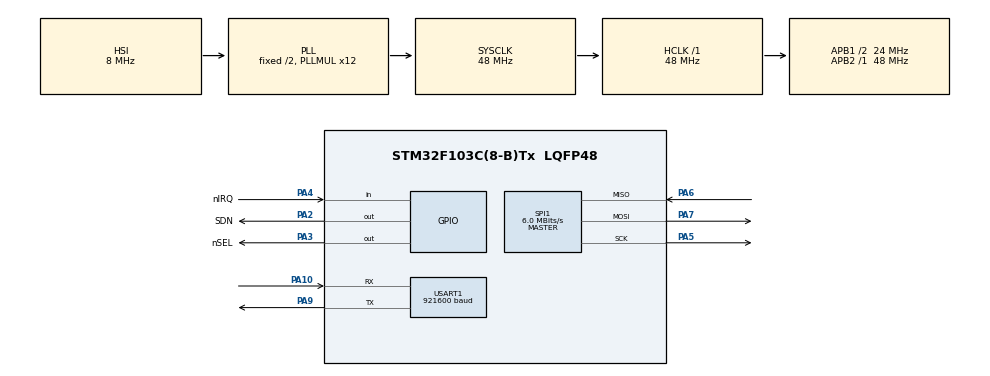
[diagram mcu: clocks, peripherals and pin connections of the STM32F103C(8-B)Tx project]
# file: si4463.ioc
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Mcu.Family=STM32F1
Mcu.Name=STM32F103C(8-B)Tx
Mcu.Package=LQFP48
NVIC.PriorityGroup=NVIC_PRIORITYGROUP_4
PA10.Mode=Asynchronous
PA10.Signal=USART1_RX
PA13.Mode=Serial_Wire
PA13.Signal=SYS_JTMS-SWDIO
PA14.Mode=Serial_Wire
PA14.Signal=SYS_JTCK-SWCLK
PA2.GPIO_Label=SDN
PA2.GPIO_PuPd=GPIO_PULLUP
PA2.PinState=GPIO_PIN_SET
PA2.Signal=GPIO_Output
PA3.GPIO_Label=nSEL
PA3.GPIO_PuPd=GPIO_PULLUP
PA3.PinState=GPIO_PIN_SET
PA3.Signal=GPIO_Output
PA4.GPIO_Label=nIRQ
PA4.GPIO_PuPd=GPIO_PULLUP
PA4.Signal=GPIO_Input
PA5.Mode=Full_Duplex_Master
PA5.Signal=SPI1_SCK
PA6.Mode=Full_Duplex_Master
PA6.Signal=SPI1_MISO
PA7.Mode=Full_Duplex_Master
PA7.Signal=SPI1_MOSI
PA9.Mode=Asynchronous
PA9.Signal=USART1_TX
ProjectManager.HeapSize=0x200
ProjectManager.StackSize=0x400
ProjectManager.TargetToolchain=MDK-ARM V5.32
RCC.AHBFreq_Value=48000000
RCC.APB1CLKDivider=RCC_HCLK_DIV2
RCC.APB1Freq_Value=24000000
RCC.APB1TimFreq_Value=48000000
RCC.APB2Freq_Value=48000000
RCC.APB2TimFreq_Value=48000000
RCC.HCLKFreq_Value=48000000
RCC.PLLMUL=RCC_PLL_MUL12
RCC.SYSCLKFreq_VALUE=48000000
RCC.SYSCLKSource=RCC_SYSCLKSOURCE_PLLCLK
RCC.USBFreq_Value=48000000
SPI1.BaudRatePrescaler=SPI_BAUDRATEPRESCALER_8
SPI1.CalculateBaudRate=6.0 MBits/s
SPI1.Direction=SPI_DIRECTION_2LINES
SPI1.Mode=SPI_MODE_MASTER
SPI1.VirtualType=VM_MASTER
USART1.BaudRate=921600
USART1.VirtualMode=VM_ASYNC
board=custom

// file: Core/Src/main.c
/* USER CODE BEGIN Header */
/**
  ******************************************************************************
  * @file           : main.c
  * @brief          : Main program body
  ******************************************************************************
  * @attention
  *
  * Copyright (c) 2023 STMicroelectronics.
  * All rights reserved.
  *
  * This software is licensed under terms that can be found in the LICENSE file
  * in the root directory of this software component.
  * If no LICENSE file comes with this software, it is provided AS-IS.
  *
  ******************************************************************************
  */
/* USER CODE END Header */
#include "main.h"

/* USER CODE BEGIN Includes */
#include "si446x.h"
/* USER CODE END Includes */

/* USER CODE BEGIN PTD */
unsigned char private_recv_buffer[10] = { 0 }; //长度不要改
uint32_t rx_cnt;
unsigned char si4432RxBuf[SI463_PACKAGE_LEN64];
/* USER CODE END PTD */

SPI_HandleTypeDef hspi1;

UART_HandleTypeDef huart1;

void SystemClock_Config(void);
static void MX_GPIO_Init(void);
static void MX_SPI1_Init(void);
static void MX_USART1_UART_Init(void);

/* USER CODE BEGIN 0 */
unsigned char p[64];
uint32_t wait;
/* USER CODE END 0 */

int main(void)
{
    /* USER CODE BEGIN 1 */
    unsigned char i;
    unsigned char send_buf[100] = {0};
    rx_cnt = 0;
    /* USER CODE END 1 */

    /* MCU Configuration--------------------------------------------------------*/

    /* Reset of all peripherals, Initializes the Flash interface and the Systick. */
    HAL_Init();

    /* Configure the system clock */
    SystemClock_Config();

    /* Initialize all configured peripherals */
    MX_GPIO_Init();
    MX_SPI1_Init();
    MX_USART1_UART_Init();
    /* USER CODE BEGIN 2 */

init:
    Si4463_init();
    wait = 0;
    /* USER CODE END 2 */

    /* Infinite loop */
    while (1)
    {

        /* USER CODE BEGIN 3 */
        if (nIRQ)

        {
            wait++;
            if (wait > 50000)
                goto init;

        }
        else
        {
            SI446X_INT_STATUS(private_recv_buffer);
            if (private_recv_buffer[3] & (1 << 4)) // 收到一个数据包
            {
                wait = 0;
                SI446X_READ_PACKET(si4432RxBuf);
                //SI446X_RX_FIFO_RESET();
                // SI446X_TX_FIFO_RESET();
                //rx_init();
                memset(si4432RxBuf, 0, 10);
                memset(private_recv_buffer, 0, 10);
                rx_cnt++;
                //p1("433 rec: ");
                //	pln(si4432RxBuf,SI463_PACKAGE_LEN64);	//check header
            }
            else
            {
                SI446X_RX_FIFO_RESET();
                SI446X_TX_FIFO_RESET();
                rx_init();
            }

        }

    }
    /* USER CODE END 3 */
}

void SystemClock_Config(void)
{
    RCC_OscInitTypeDef RCC_OscInitStruct = {0};
    RCC_ClkInitTypeDef RCC_ClkInitStruct = {0};

    /** Initializes the RCC Oscillators according to the specified parameters
    * in the RCC_OscInitTypeDef structure.
    */
    RCC_OscInitStruct.OscillatorType = RCC_OSCILLATORTYPE_HSI;
    RCC_OscInitStruct.HSIState = RCC_HSI_ON;
    RCC_OscInitStruct.HSICalibrationValue = RCC_HSICALIBRATION_DEFAULT;
    RCC_OscInitStruct.PLL.PLLState = RCC_PLL_ON;
    RCC_OscInitStruct.PLL.PLLSource = RCC_PLLSOURCE_HSI_DIV2;
    RCC_OscInitStruct.PLL.PLLMUL = RCC_PLL_MUL12;
    if (HAL_RCC_OscConfig(&RCC_OscInitStruct) != HAL_OK)
    {
        Error_Handler();
    }

    /** Initializes the CPU, AHB and APB buses clocks
    */
    RCC_ClkInitStruct.ClockType = RCC_CLOCKTYPE_HCLK | RCC_CLOCKTYPE_SYSCLK
                                  | RCC_CLOCKTYPE_PCLK1 | RCC_CLOCKTYPE_PCLK2;
    RCC_ClkInitStruct.SYSCLKSource = RCC_SYSCLKSOURCE_PLLCLK;
    RCC_ClkInitStruct.AHBCLKDivider = RCC_SYSCLK_DIV1;
    RCC_ClkInitStruct.APB1CLKDivider = RCC_HCLK_DIV2;
    RCC_ClkInitStruct.APB2CLKDivider = RCC_HCLK_DIV1;

    if (HAL_RCC_ClockConfig(&RCC_ClkInitStruct, FLASH_LATENCY_1) != HAL_OK)
    {
        Error_Handler();
    }
}

static void MX_SPI1_Init(void)
{

    /* SPI1 parameter configuration*/
    hspi1.Instance = SPI1;
    hspi1.Init.Mode = SPI_MODE_MASTER;
    hspi1.Init.Direction = SPI_DIRECTION_2LINES;
    hspi1.Init.DataSize = SPI_DATASIZE_8BIT;
    hspi1.Init.CLKPolarity = SPI_POLARITY_LOW;
    hspi1.Init.CLKPhase = SPI_PHASE_1EDGE;
    hspi1.Init.NSS = SPI_NSS_SOFT;
    hspi1.Init.BaudRatePrescaler = SPI_BAUDRATEPRESCALER_16;
    hspi1.Init.FirstBit = SPI_FIRSTBIT_MSB;
    hspi1.Init.TIMode = SPI_TIMODE_DISABLE;
    hspi1.Init.CRCCalculation = SPI_CRCCALCULATION_DISABLE;
    hspi1.Init.CRCPolynomial = 10;
    if (HAL_SPI_Init(&hspi1) != HAL_OK)
    {
        Error_Handler();
    }

}

static void MX_USART1_UART_Init(void)
{

    huart1.Instance = USART1;
    huart1.Init.BaudRate = 921600;
    huart1.Init.WordLength = UART_WORDLENGTH_8B;
    huart1.Init.StopBits = UART_STOPBITS_1;
    huart1.Init.Parity = UART_PARITY_NONE;
    huart1.Init.Mode = UART_MODE_TX_RX;
    huart1.Init.HwFlowCtl = UART_HWCONTROL_NONE;
    huart1.Init.OverSampling = UART_OVERSAMPLING_16;
    if (HAL_UART_Init(&huart1) != HAL_OK)
    {
        Error_Handler();
    }

}

static void MX_GPIO_Init(void)
{
    GPIO_InitTypeDef GPIO_InitStruct = {0};

    /* GPIO Ports Clock Enable */
    __HAL_RCC_GPIOA_CLK_ENABLE();

    /*Configure GPIO pin Output Level */
    HAL_GPIO_WritePin(GPIOA, SDN_Pin | nSEL_Pin, GPIO_PIN_SET);

    /*Configure GPIO pins : SDN_Pin nSEL_Pin */
    GPIO_InitStruct.Pin = SDN_Pin | nSEL_Pin;
    GPIO_InitStruct.Mode = GPIO_MODE_OUTPUT_PP;
    GPIO_InitStruct.Pull = GPIO_PULLUP;
    GPIO_InitStruct.Speed = GPIO_SPEED_FREQ_HIGH;
    HAL_GPIO_Init(GPIOA, &GPIO_InitStruct);

    /*Configure GPIO pin : nIRQ_Pin */
    GPIO_InitStruct.Pin = nIRQ_Pin;
    GPIO_InitStruct.Mode = GPIO_MODE_INPUT;
    GPIO_InitStruct.Pull = GPIO_PULLUP;
    HAL_GPIO_Init(nIRQ_GPIO_Port, &GPIO_InitStruct);

}

void Error_Handler(void)
{
    __disable_irq();
    while (1)
    {
    }
}
